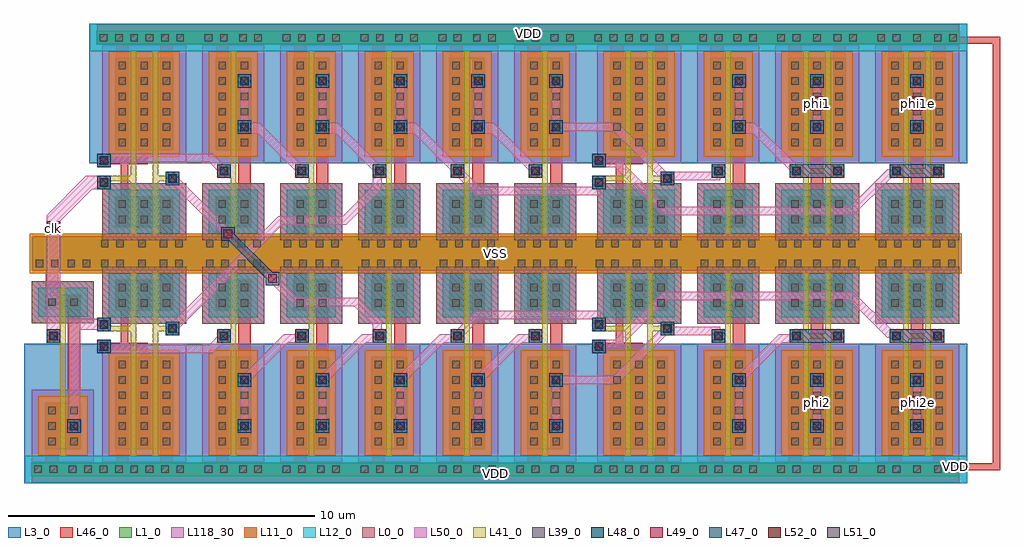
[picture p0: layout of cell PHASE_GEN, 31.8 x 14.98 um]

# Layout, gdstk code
import gdstk
lib = gdstk.Library(unit=1e-6, precision=1e-09)
def R(c, l, rs):  # rectangles x0, y0, x1, y1
    for r in rs: c.add(gdstk.rectangle(r[:2], r[2:], *l))
def A(c, l, x, y, w, h, nx, ny, dx, dy):  # array of equal rectangles
    R(c, l, [(x+i*dx, y+j*dy, x+i*dx+w, y+j*dy+h) for i in range(nx) for j in range(ny)])
def P(c, l, *ps):  # polygons
    for p in ps: c.add(gdstk.Polygon(p, *l))
L0_0 = (0, 0)
L1_0 = (1, 0)
L3_0 = (3, 0)
L11_0 = (11, 0)
L12_0 = (12, 0)
L39_0 = (39, 0)
L41_0 = (41, 0)
L46_0 = (46, 0)
L47_0 = (47, 0)
L48_0 = (48, 0)
L49_0 = (49, 0)
L50_0 = (50, 0)
L51_0 = (51, 0)
L52_0 = (52, 0)
L118_30 = (118, 30)

m2m3 = lib.new_cell('M2M3')
R(m2m3, L48_0, [(-0.22,-0.22,0.22,0.22)])
R(m2m3, L49_0, [(-0.14,-0.14,0.14,0.14)])
R(m2m3, L50_0, [(-0.22,-0.22,0.22,0.22)])

mpoly = lib.new_cell('MPOLY')
R(mpoly, L39_0, [(-0.12,-0.12,0.12,0.12)])
R(mpoly, L41_0, [(-0.22,-0.22,0.22,0.22)])
R(mpoly, L46_0, [(-0.2,-0.2,0.2,0.2)])

m1m2 = lib.new_cell('M1M2')
R(m1m2, L46_0, [(-0.22,-0.22,0.22,0.22)])
R(m1m2, L47_0, [(-0.14,-0.14,0.14,0.14)])
R(m1m2, L48_0, [(-0.22,-0.22,0.22,0.22)])

inv_x8 = lib.new_cell('inv_X8')
R(inv_x8, L0_0, [(-1.57,-0.84,1.17,1.02)])
R(inv_x8, L1_0, [(-1.55,-1.17,1.15,-0.73), (-1.14,-0.41,0.74,0.59), (-1.14,-0.41,-0.65,0.59), (0.25,-0.41,0.74,0.59), (-1.14,2.1,0.74,5.1), (-1.14,2.1,-0.65,5.1), (0.25,2.1,0.74,5.1), (-1.59,5.54,1.19,5.98)])
R(inv_x8, L3_0, [(-1.57,1.67,1.17,5.53), (-1.83,5.3,1.43,6.22)])
R(inv_x8, L11_0, [(-1.65,-1.27,1.25,-0.63), (-1.36,1.88,0.96,5.32)])
R(inv_x8, L12_0, [(-1.36,-0.63,0.96,0.81), (-1.81,5.32,1.41,6.2)])
A(inv_x8, L39_0, -0.95, -1.07, 0.24, 0.24, 3, 1, 0.63, 0)
A(inv_x8, L39_0, -1.04, -0.28, 0.24, 0.24, 3, 2, 0.72, 0.5)
A(inv_x8, L39_0, -1.04, 2.23, 0.24, 0.24, 3, 6, 0.72, 0.5)
A(inv_x8, L39_0, -0.99, 5.64, 0.24, 0.24, 3, 1, 0.67, 0)
R(inv_x8, L39_0, [(-1.45,-1.07,-1.21,-0.83), (0.81,-1.07,1.05,-0.83), (-1.49,5.64,-1.25,5.88), (0.85,5.64,1.09,5.88)])
R(inv_x8, L41_0, [(-0.65,-0.63,-0.47,-0.41), (0.07,-0.63,0.25,-0.41), (-0.65,-0.41,-0.47,0.59), (0.07,-0.41,0.25,0.59), (-0.65,0.59,-0.47,0.81), (0.07,0.59,0.25,0.81), (-0.65,0.63,-0.47,2.06), (0.07,0.63,0.25,2.06), (-0.96,1.33,-0.66,1.51), (-0.65,1.33,0.25,1.51), (0.38,1.33,0.68,1.51), (-0.65,1.88,-0.47,2.1), (0.07,1.88,0.25,2.1), (-0.65,2.1,-0.47,5.1), (0.07,2.1,0.25,5.1), (-0.65,5.1,-0.47,5.32), (0.07,5.1,0.25,5.32)])
A(inv_x8, L46_0, -1.12, -0.36, 0.4, 0.9, 3, 1, 0.72, 0)
A(inv_x8, L46_0, -1.12, 2.15, 0.4, 2.9, 3, 1, 0.72, 0)
R(inv_x8, L46_0, [(-1.57,-1.27,1.17,-0.71), (-1.57,-1.19,1.17,-0.71), (-1.12,-1.11,-0.72,0.04), (0.32,-1.11,0.72,0.04), (-0.4,0.14,0,2.55), (-1.12,4.65,-0.72,5.96), (0.32,4.65,0.72,5.96), (-1.57,5.56,1.17,5.96), (-1.57,5.56,1.17,6.22)])
R(inv_x8, L48_0, [(-0.91,1.2,0.25,1.64)])
R(inv_x8, L50_0, [(-1.09,1.2,0.69,1.64), (-0.34,2.71,-0.06,4.49)])
R(inv_x8, L118_30, [(-1.57,-0.84,1.17,1.02), (-1.57,1.67,1.17,5.53)])
inv_x8.add(gdstk.Reference(m2m3, (-0.87,1.42)))
inv_x8.add(gdstk.Reference(mpoly, (-0.87,1.42)))
inv_x8.add(gdstk.Reference(m2m3, (0.47,1.42)))
inv_x8.add(gdstk.Reference(m2m3, (-0.2,4.35)))
inv_x8.add(gdstk.Reference(m1m2, (-0.87,1.42)))
inv_x8.add(gdstk.Reference(m1m2, (-0.2,2.85)))
inv_x8.add(gdstk.Reference(m1m2, (-0.2,4.35)))
inv_x8.add(gdstk.Reference(m1m2, (0.47,1.42)))
inv_x8.add(gdstk.Reference(mpoly, (0.47,1.42)))
inv_x8.add(gdstk.Reference(m2m3, (-0.2,2.85)))
inv_x8.add(gdstk.Label('/M1', (-0.56,0.09), layer=85, texttype=0))
inv_x8.add(gdstk.Label('/M1', (0.16,0.09), layer=85, texttype=0))
inv_x8.add(gdstk.Label('& Vendor Mentor', (-1.14,-0.41), layer=63, texttype=63))
inv_x8.add(gdstk.Label('& Product UMC180FDKMFM', (-1.14,-0.41), layer=63, texttype=63))
inv_x8.add(gdstk.Label('& Version A01', (-1.14,-0.41), layer=63, texttype=63))
inv_x8.add(gdstk.Label('& Metric 0', (-1.14,-0.41), layer=63, texttype=63))
inv_x8.add(gdstk.Label('& _PublicCode', (-1.14,-0.41), layer=63, texttype=63))
inv_x8.add(gdstk.Label('/M2', (-0.56,3.6), layer=85, texttype=0))
inv_x8.add(gdstk.Label('/M2', (0.16,3.6), layer=85, texttype=0))
inv_x8.add(gdstk.Label('& Vendor Mentor', (-1.14,2.1), layer=63, texttype=63))
inv_x8.add(gdstk.Label('& Product UMC180FDKMFM', (-1.14,2.1), layer=63, texttype=63))
inv_x8.add(gdstk.Label('& Version A01', (-1.14,2.1), layer=63, texttype=63))
inv_x8.add(gdstk.Label('& Metric 0', (-1.14,2.1), layer=63, texttype=63))
inv_x8.add(gdstk.Label('& _PublicCode', (-1.14,2.1), layer=63, texttype=63))
inv_x8.add(gdstk.Label('VSS', (-0.2,-0.99), layer=101, texttype=0))
inv_x8.add(gdstk.Label('VDD', (-0.2,5.89), layer=101, texttype=0))
inv_x8.add(gdstk.Label('I', (-0.2,1.42), layer=103, texttype=0))
inv_x8.add(gdstk.Label('O', (-0.2,3.6), layer=103, texttype=0))

inv_x4 = lib.new_cell('inv_X4')
R(inv_x4, L0_0, [(-0.34,-2.21,1.68,-0.35)])
R(inv_x4, L1_0, [(-0.32,-2.54,1.66,-2.1), (0.09,-1.78,1.25,-0.78), (0.09,-1.78,0.58,-0.78), (0.76,-1.78,1.25,-0.78), (0.09,0.73,1.25,3.73), (0.09,0.73,0.58,3.73), (0.76,0.73,1.25,3.73), (-0.36,4.17,1.7,4.61)])
R(inv_x4, L3_0, [(-0.34,0.3,1.68,4.16), (-0.6,3.93,1.94,4.85)])
R(inv_x4, L11_0, [(-0.42,-2.64,1.76,-2), (-0.13,0.51,1.47,3.95)])
R(inv_x4, L12_0, [(-0.13,-2,1.47,-0.56), (-0.58,3.95,1.92,4.83)])
A(inv_x4, L39_0, 0.19, 0.86, 0.24, 0.24, 1, 6, 0, 0.5)
A(inv_x4, L39_0, 0.91, 0.86, 0.24, 0.24, 1, 6, 0, 0.5)
R(inv_x4, L39_0, [(-0.22,-2.44,0.02,-2.2), (0.28,-2.44,0.52,-2.2), (0.82,-2.44,1.06,-2.2), (1.32,-2.44,1.56,-2.2), (0.19,-1.65,0.43,-1.41), (0.91,-1.65,1.15,-1.41), (0.19,-1.15,0.43,-0.91), (0.91,-1.15,1.15,-0.91), (-0.26,4.27,-0.02,4.51), (0.24,4.27,0.48,4.51), (0.86,4.27,1.1,4.51), (1.36,4.27,1.6,4.51)])
R(inv_x4, L41_0, [(0.58,-2,0.76,-1.78), (0.58,-1.78,0.76,-0.78), (0.58,-0.78,0.76,-0.56), (0.58,-0.74,0.76,0.69), (0.27,-0.04,0.57,0.14), (0.58,0.51,0.76,0.73), (0.58,0.73,0.76,3.73), (0.58,3.73,0.76,3.95)])
R(inv_x4, L46_0, [(-0.34,-2.64,1.68,-2.08), (-0.34,-2.56,1.68,-2.08), (0.11,-2.48,0.51,-1.33), (0.11,-1.73,0.51,-0.83), (0.83,-1.73,1.23,-0.83), (0.83,-1.23,1.23,1.18), (0.11,0.78,0.51,3.68), (0.83,0.78,1.23,3.68), (0.11,3.28,0.51,4.59), (-0.34,4.19,1.68,4.59), (-0.34,4.19,1.68,4.85)])
R(inv_x4, L50_0, [(0.14,-0.17,0.58,0.27), (0.89,1.34,1.17,3.12)])
R(inv_x4, L118_30, [(-0.34,-2.21,1.68,-0.35), (-0.34,0.3,1.68,4.16)])
inv_x4.add(gdstk.Reference(m2m3, (1.03,2.98)))
inv_x4.add(gdstk.Reference(m1m2, (0.36,0.05)))
inv_x4.add(gdstk.Reference(m1m2, (1.03,1.48)))
inv_x4.add(gdstk.Reference(m2m3, (0.36,0.05)))
inv_x4.add(gdstk.Reference(mpoly, (0.36,0.05)))
inv_x4.add(gdstk.Reference(m2m3, (1.03,1.48)))
inv_x4.add(gdstk.Reference(m1m2, (1.03,2.98)))
inv_x4.add(gdstk.Label('& _PublicCode', (0.09,-1.78), layer=63, texttype=63))
inv_x4.add(gdstk.Label('/M1', (0.67,-1.28), layer=85, texttype=0))
inv_x4.add(gdstk.Label('& Vendor Mentor', (0.09,-1.78), layer=63, texttype=63))
inv_x4.add(gdstk.Label('& Product UMC180FDKMFM', (0.09,-1.78), layer=63, texttype=63))
inv_x4.add(gdstk.Label('& Version A01', (0.09,-1.78), layer=63, texttype=63))
inv_x4.add(gdstk.Label('& Metric 0', (0.09,-1.78), layer=63, texttype=63))
inv_x4.add(gdstk.Label('/M2', (0.67,2.23), layer=85, texttype=0))
inv_x4.add(gdstk.Label('& Vendor Mentor', (0.09,0.73), layer=63, texttype=63))
inv_x4.add(gdstk.Label('& Product UMC180FDKMFM', (0.09,0.73), layer=63, texttype=63))
inv_x4.add(gdstk.Label('& Version A01', (0.09,0.73), layer=63, texttype=63))
inv_x4.add(gdstk.Label('& Metric 0', (0.09,0.73), layer=63, texttype=63))
inv_x4.add(gdstk.Label('& _PublicCode', (0.09,0.73), layer=63, texttype=63))
inv_x4.add(gdstk.Label('VSS', (0.67,-2.36), layer=101, texttype=0))
inv_x4.add(gdstk.Label('VDD', (0.67,4.52), layer=101, texttype=0))
inv_x4.add(gdstk.Label('I', (0.36,0.05), layer=103, texttype=0))
inv_x4.add(gdstk.Label('O', (1.03,2.23), layer=103, texttype=0))

inv_x2 = lib.new_cell('inv_X2')
R(inv_x2, L0_0, [(-1.58,-2.76,0.44,-1.4)])
R(inv_x2, L1_0, [(-1.56,-3.57,0.42,-3.13), (-1.15,-2.33,0.01,-1.83), (-1.15,-2.33,-0.66,-1.83), (-0.48,-2.33,0.01,-1.83), (-1.15,1.2,0.01,2.7), (-1.15,1.2,-0.66,2.7), (-0.48,1.2,0.01,2.7), (-1.6,3.14,0.46,3.58)])
R(inv_x2, L3_0, [(-1.58,0.77,0.44,3.13), (-1.84,2.9,0.7,3.82)])
R(inv_x2, L11_0, [(-1.66,-3.67,0.52,-3.03), (-1.37,0.98,0.23,2.92)])
R(inv_x2, L12_0, [(-1.37,-2.55,0.23,-1.61), (-1.82,2.92,0.68,3.8)])
A(inv_x2, L39_0, -1.05, 1.33, 0.24, 0.24, 1, 3, 0, 0.5)
A(inv_x2, L39_0, -0.33, 1.33, 0.24, 0.24, 1, 3, 0, 0.5)
R(inv_x2, L39_0, [(-1.46,-3.47,-1.22,-3.23), (-0.96,-3.47,-0.72,-3.23), (-0.42,-3.47,-0.18,-3.23), (0.08,-3.47,0.32,-3.23), (-1.05,-2.2,-0.81,-1.96), (-0.33,-2.2,-0.09,-1.96), (-1.5,3.24,-1.26,3.48), (-1,3.24,-0.76,3.48), (-0.38,3.24,-0.14,3.48), (0.12,3.24,0.36,3.48)])
R(inv_x2, L41_0, [(-0.66,-2.55,-0.48,-2.33), (-0.66,-2.33,-0.48,-1.83), (-0.66,-1.83,-0.48,-1.61), (-0.66,-1.77,-0.48,1.16), (-0.97,-1.07,-0.67,-0.89), (-0.66,0.98,-0.48,1.2), (-0.66,1.2,-0.48,2.7), (-0.66,2.7,-0.48,2.92)])
R(inv_x2, L46_0, [(-1.58,-3.67,0.44,-3.11), (-1.58,-3.59,0.44,-3.11), (-1.13,-3.11,-0.73,-2.28), (-1.13,-2.28,-0.73,-1.88), (-0.41,-2.28,-0.01,-1.88), (-0.41,-2.26,-0.01,1.65), (-1.13,1.25,-0.73,2.65), (-0.41,1.25,-0.01,2.65), (-1.13,2.25,-0.73,3.16), (-1.58,3.16,0.44,3.56), (-1.58,3.16,0.44,3.82)])
R(inv_x2, L50_0, [(-1.1,-1.2,-0.66,-0.76), (-0.43,1.73,0.01,2.17)])
R(inv_x2, L118_30, [(-1.58,-2.76,0.44,-1.4), (-1.58,0.77,0.44,3.13)])
inv_x2.add(gdstk.Reference(m2m3, (-0.21,1.95)))
inv_x2.add(gdstk.Reference(m1m2, (-0.88,-0.98)))
inv_x2.add(gdstk.Reference(m1m2, (-0.21,1.95)))
inv_x2.add(gdstk.Reference(m2m3, (-0.88,-0.98)))
inv_x2.add(gdstk.Reference(mpoly, (-0.88,-0.98)))
inv_x2.add(gdstk.Label('& _PublicCode', (-1.15,-2.33), layer=63, texttype=63))
inv_x2.add(gdstk.Label('/M1', (-0.57,-2.08), layer=85, texttype=0))
inv_x2.add(gdstk.Label('& Vendor Mentor', (-1.15,-2.33), layer=63, texttype=63))
inv_x2.add(gdstk.Label('& Product UMC180FDKMFM', (-1.15,-2.33), layer=63, texttype=63))
inv_x2.add(gdstk.Label('& Version A01', (-1.15,-2.33), layer=63, texttype=63))
inv_x2.add(gdstk.Label('& Metric 0', (-1.15,-2.33), layer=63, texttype=63))
inv_x2.add(gdstk.Label('& _PublicCode', (-1.15,1.2), layer=63, texttype=63))
inv_x2.add(gdstk.Label('/M2', (-0.57,1.95), layer=85, texttype=0))
inv_x2.add(gdstk.Label('& Vendor Mentor', (-1.15,1.2), layer=63, texttype=63))
inv_x2.add(gdstk.Label('& Product UMC180FDKMFM', (-1.15,1.2), layer=63, texttype=63))
inv_x2.add(gdstk.Label('& Version A01', (-1.15,1.2), layer=63, texttype=63))
inv_x2.add(gdstk.Label('& Metric 0', (-1.15,1.2), layer=63, texttype=63))
inv_x2.add(gdstk.Label('VSS', (-1.58,-3.67), layer=101, texttype=0))
inv_x2.add(gdstk.Label('VDD', (-0.57,3.49), layer=101, texttype=0))
inv_x2.add(gdstk.Label('I', (-0.88,-0.98), layer=103, texttype=0))
inv_x2.add(gdstk.Label('O', (-0.21,1.95), layer=103, texttype=0))

nand_x4 = lib.new_cell('nand_X4')
R(nand_x4, L0_0, [(3.04,-4.66,5.78,-2.8)])
R(nand_x4, L1_0, [(2.9,-4.99,5.76,-4.55), (3.47,-4.23,5.35,-3.23), (3.47,-4.23,3.96,-3.23), (4.86,-4.23,5.35,-3.23), (3.47,-1.72,5.35,1.28), (3.47,-1.72,3.96,1.28), (4.86,-1.72,5.35,1.28), (2.86,1.72,5.8,2.16)])
R(nand_x4, L3_0, [(3.04,-2.15,5.78,1.71), (2.62,1.48,6.04,2.4)])
R(nand_x4, L11_0, [(2.8,-5.09,5.86,-4.45), (3.25,-1.94,5.57,1.5)])
R(nand_x4, L12_0, [(3.25,-4.45,5.57,-3.01), (2.64,1.5,6.02,2.38)])
A(nand_x4, L39_0, 3.5, -4.89, 0.24, 0.24, 3, 1, 0.71, 0)
A(nand_x4, L39_0, 3.57, -4.1, 0.24, 0.24, 3, 2, 0.72, 0.5)
A(nand_x4, L39_0, 3.57, -1.59, 0.24, 0.24, 3, 6, 0.72, 0.5)
A(nand_x4, L39_0, 2.96, 1.82, 0.24, 0.24, 6, 1, 0.5, 0)
R(nand_x4, L39_0, [(3,-4.89,3.24,-4.65), (5.42,-4.89,5.66,-4.65)])
R(nand_x4, L41_0, [(3.96,-4.45,4.14,-4.23), (4.68,-4.45,4.86,-4.23), (3.96,-4.23,4.14,-3.23), (4.68,-4.23,4.86,-3.23), (3.96,-3.23,4.14,-3.01), (4.68,-3.23,4.86,-3.01), (3.96,-3.19,4.14,-2.56), (4.68,-3.19,4.86,-2.56), (3.01,-2.87,3.19,-2.56), (3.03,-2.74,4.14,-2.56), (3.96,-2.74,4.14,-1.76), (4.68,-2.74,5.42,-2.56), (4.68,-2.74,4.86,-1.76), (3.96,-1.94,4.14,-1.72), (4.68,-1.94,4.86,-1.72), (3.96,-1.72,4.14,1.28), (4.68,-1.72,4.86,1.28), (3.96,1.28,4.14,1.5), (4.68,1.28,4.86,1.5)])
A(nand_x4, L46_0, 3.49, -4.18, 0.4, 0.9, 3, 1, 0.72, 0)
A(nand_x4, L46_0, 3.49, -1.67, 0.4, 2.9, 3, 1, 0.72, 0)
R(nand_x4, L46_0, [(2.88,-5.09,5.78,-4.53), (2.88,-5.01,5.78,-4.53), (4.93,-4.93,5.33,-3.78), (3.65,-3.52,3.89,-1.94), (2.98,-2.18,3.89,-1.94), (3.49,0.83,3.89,2.14), (4.93,0.83,5.33,2.14), (2.88,1.74,5.78,2.14), (2.88,1.74,5.78,2.4)])
P(nand_x4, L46_0, [(3.65,-2.18),(4.53,-2.18),(4.53,-1.43),(4.29,-1.43),(4.29,-1.94),(3.65,-1.94)])
R(nand_x4, L50_0, [(2.88,-3,3.32,-2.56), (5.11,-2.87,5.55,-2.43), (2.88,-2.28,3.32,-1.84)])
R(nand_x4, L118_30, [(3.04,-4.66,5.78,-2.8), (3.04,-2.15,5.78,1.71)])
nand_x4.add(gdstk.Reference(m1m2, (3.1,-2.78)))
nand_x4.add(gdstk.Reference(m1m2, (3.1,-2.06)))
nand_x4.add(gdstk.Reference(m2m3, (5.33,-2.65)))
nand_x4.add(gdstk.Reference(m2m3, (3.1,-2.06)))
nand_x4.add(gdstk.Reference(mpoly, (3.1,-2.78)))
nand_x4.add(gdstk.Reference(mpoly, (5.33,-2.65)))
nand_x4.add(gdstk.Reference(m1m2, (5.33,-2.65)))
nand_x4.add(gdstk.Reference(m2m3, (3.1,-2.78)))
nand_x4.add(gdstk.Label('/M3', (4.77,-3.73), layer=85, texttype=0))
nand_x4.add(gdstk.Label('/M2', (4.05,-3.73), layer=85, texttype=0))
nand_x4.add(gdstk.Label('& Vendor Mentor', (5.35,-4.23), layer=63, texttype=63))
nand_x4.add(gdstk.Label('& Product UMC180FDKMFM', (5.35,-4.23), layer=63, texttype=63))
nand_x4.add(gdstk.Label('& Version A01', (5.35,-4.23), layer=63, texttype=63))
nand_x4.add(gdstk.Label('& Metric 0', (5.35,-4.23), layer=63, texttype=63))
nand_x4.add(gdstk.Label('& _PublicCode', (5.35,-4.23), layer=63, texttype=63))
nand_x4.add(gdstk.Label('/M4', (4.05,-0.22), layer=85, texttype=0))
nand_x4.add(gdstk.Label('/M1', (4.77,-0.22), layer=85, texttype=0))
nand_x4.add(gdstk.Label('& Vendor Mentor', (3.47,-1.72), layer=63, texttype=63))
nand_x4.add(gdstk.Label('& Product UMC180FDKMFM', (3.47,-1.72), layer=63, texttype=63))
nand_x4.add(gdstk.Label('& Version A01', (3.47,-1.72), layer=63, texttype=63))
nand_x4.add(gdstk.Label('& Metric 0', (3.47,-1.72), layer=63, texttype=63))
nand_x4.add(gdstk.Label('& _PublicCode', (3.47,-1.72), layer=63, texttype=63))
nand_x4.add(gdstk.Label('VSS', (4.33,-4.81), layer=101, texttype=0))
nand_x4.add(gdstk.Label('VDD', (4.33,2.07), layer=101, texttype=0))
nand_x4.add(gdstk.Label('A', (3.1,-2.78), layer=103, texttype=0))
nand_x4.add(gdstk.Label('O', (3.1,-2.06), layer=103, texttype=0))
nand_x4.add(gdstk.Label('B', (5.33,-2.65), layer=103, texttype=0))

m3m4 = lib.new_cell('M3M4')
R(m3m4, L50_0, [(-0.22,-0.22,0.22,0.22)])
R(m3m4, L51_0, [(-0.14,-0.14,0.14,0.14)])
R(m3m4, L52_0, [(-0.22,-0.22,0.22,0.22)])

phase_gen = lib.new_cell('PHASE_GEN')
R(phase_gen, L1_0, [(8.34,-5.65,29.53,-5.21), (29.53,-5.65,38.59,-5.21), (8.38,1.06,29.49,2.14), (29.49,1.06,38.55,2.14), (10.47,8.41,29.53,8.85), (29.53,8.41,38.59,8.85)])
R(phase_gen, L3_0, [(8.1,-5.89,38.83,-1.34), (10.23,4.54,38.83,9.09)])
R(phase_gen, L11_0, [(8.28,0.96,38.65,2.24)])
R(phase_gen, L12_0, [(8.12,-5.87,38.81,-4.99), (10.25,8.19,38.81,9.07)])
R(phase_gen, L46_0, [(8.36,-5.89,38.57,-5.23), (8.36,1.04,38.57,2.16), (10.49,8.43,38.57,9.09)])
P(phase_gen, L46_0, [(38.33,-5.47),(39.9,-5.47),(39.9,8.67),(38.33,8.67),(38.33,8.43),(39.66,8.43),(39.66,-5.23),(38.33,-5.23)])
P(phase_gen, L48_0, [(14.52,2.26),(16.21,0.57),(16.41,0.77),(14.72,2.46)])
P(phase_gen, L50_0, [(22.11,-0.99),(22.31,-1.19),(22.95,-0.55),(26.61,-0.55),(26.61,-0.75),(26.89,-0.75),(26.89,-0.27),(22.83,-0.27)],
  [(25.3,-2.66),(27.44,-2.66),(29.18,-0.92),(28.98,-0.72),(27.32,-2.38),(25.3,-2.38)],
  [(29,-1.06),(30.51,-1.06),(30.51,-1.15),(30.79,-1.15),(30.79,-0.78),(29,-0.78)],
  [(31.26,-2.46),(31.46,-2.66),(32.81,-1.31),(33.33,-1.31),(33.33,-1.03),(32.69,-1.03)],
  [(26.77,-1.49),(27.47,-1.49),(29.04,0.08),(35,0.08),(36.23,-1.15),(36.59,-1.15),(36.59,-0.87),(36.35,-0.87),(35.12,0.36),(28.92,0.36),(27.35,-1.21),(26.77,-1.21)],
  [(10.65,4.57),(14.13,4.57),(14.53,4.17),(14.73,4.37),(14.25,4.85),(10.65,4.85)],
  [(10.65,-1.65),(14.25,-1.65),(14.73,-1.17),(14.53,-0.97),(14.13,-1.37),(10.65,-1.37)],
  [(12.82,-0.76),(13.02,-0.96),(16.51,2.53),(18.6,2.53),(19.75,3.68),(19.75,4.35),(19.47,4.35),(19.47,3.8),(18.48,2.81),(16.39,2.81)],
  [(17.68,-2.46),(17.88,-2.66),(19.23,-1.31),(19.75,-1.31),(19.75,-1.03),(19.11,-1.03)],
  [(15.97,0.81),(16.9,-0.12),(18.86,-0.12),(19.47,-0.73),(19.47,-1.15),(19.75,-1.15),(19.75,-0.61),(18.98,0.16),(17.02,0.16),(16.17,1.01)],
  [(8.84,-1.31),(9.28,-1.31),(9.28,2.65),(10.32,3.69),(10.93,3.69),(10.93,4.13),(10.12,4.13),(8.84,2.85)],
  [(9.56,-4.16),(9.92,-4.16),(9.92,-0.89),(10.85,-0.89),(10.85,-0.53),(9.56,-0.53)],
  [(15.14,5.58),(15.5,5.58),(15.5,5.5),(15.74,5.5),(17.07,4.17),(17.27,4.37),(15.78,5.86),(15.14,5.86)],
  [(17.68,5.58),(18.04,5.58),(18.04,5.5),(18.28,5.5),(19.61,4.17),(19.81,4.37),(18.32,5.86),(17.68,5.86)],
  [(20.22,5.58),(20.58,5.58),(20.58,5.5),(20.82,5.5),(22.15,4.17),(22.35,4.37),(20.86,5.86),(20.22,5.86)],
  [(22.76,5.58),(23.12,5.58),(23.12,5.5),(23.36,5.5),(24.69,4.17),(24.89,4.37),(23.4,5.86),(22.76,5.86)],
  [(25.3,5.58),(27.32,5.58),(28.98,3.92),(29.18,4.12),(27.44,5.86),(25.3,5.86)],
  [(29,3.98),(30.79,3.98),(30.79,4.35),(30.51,4.35),(30.51,4.26),(29,4.26)],
  [(31.26,5.58),(31.62,5.58),(31.62,5.5),(31.86,5.5),(33.19,4.17),(33.39,4.37),(31.9,5.86),(31.26,5.86)],
  [(22.11,4.21),(22.83,3.49),(26.89,3.49),(26.89,3.97),(26.61,3.97),(26.61,3.77),(22.95,3.77),(22.31,4.41)],
  [(26.77,4.41),(27.35,4.41),(28.92,2.84),(35.12,2.84),(36.35,4.07),(36.59,4.07),(36.59,4.35),(36.23,4.35),(35,3.12),(29.04,3.12),(27.47,4.69),(26.77,4.69)],
  [(15.14,-2.46),(15.34,-2.66),(16.69,-1.31),(17.21,-1.31),(17.21,-1.03),(16.57,-1.03)],
  [(12.82,3.96),(14.76,2.02),(14.96,2.22),(13.02,4.16)],
  [(20.22,-2.46),(20.42,-2.66),(21.77,-1.31),(22.29,-1.31),(22.29,-1.03),(21.65,-1.03)],
  [(22.76,-2.46),(22.96,-2.66),(24.31,-1.31),(24.83,-1.31),(24.83,-1.03),(24.19,-1.03)])
R(phase_gen, L52_0, [(33.72,-3.49,34.16,-3.05), (36.98,-3.49,37.42,-3.05), (8.84,2.21,9.28,2.65), (33.72,6.27,34.16,6.71), (36.98,6.27,37.42,6.71)])
phase_gen.add(gdstk.Reference(inv_x8, (37.4,0.33), x_reflection=True))
phase_gen.add(gdstk.Reference(inv_x8, (34.14,0.33), x_reflection=True))
phase_gen.add(gdstk.Reference(inv_x8, (37.4,2.87)))
phase_gen.add(gdstk.Reference(inv_x8, (34.14,2.87)))
phase_gen.add(gdstk.Reference(inv_x4, (30.37,-1.04), x_reflection=True))
phase_gen.add(gdstk.Reference(inv_x4, (30.37,4.24)))
phase_gen.add(gdstk.Reference(inv_x4, (24.41,-1.04), x_reflection=True))
phase_gen.add(gdstk.Reference(inv_x4, (21.87,-1.04), x_reflection=True))
phase_gen.add(gdstk.Reference(inv_x4, (19.33,-1.04), x_reflection=True))
phase_gen.add(gdstk.Reference(inv_x4, (16.79,-1.04), x_reflection=True))
phase_gen.add(gdstk.Reference(inv_x4, (14.25,-1.04), x_reflection=True))
phase_gen.add(gdstk.Reference(inv_x4, (24.41,4.24)))
phase_gen.add(gdstk.Reference(inv_x4, (21.87,4.24)))
phase_gen.add(gdstk.Reference(inv_x4, (19.33,4.24)))
phase_gen.add(gdstk.Reference(inv_x4, (16.79,4.24)))
phase_gen.add(gdstk.Reference(inv_x4, (14.25,4.24)))
phase_gen.add(gdstk.Reference(inv_x2, (9.94,-2.07), x_reflection=True))
phase_gen.add(gdstk.Reference(nand_x4, (23.73,-3.49), x_reflection=True))
phase_gen.add(gdstk.Reference(nand_x4, (23.73,6.69)))
phase_gen.add(gdstk.Reference(nand_x4, (7.61,6.69)))
phase_gen.add(gdstk.Reference(nand_x4, (7.61,-3.49), x_reflection=True))
phase_gen.add(gdstk.Reference(m2m3, (16.19,0.79)))
phase_gen.add(gdstk.Reference(m2m3, (14.74,2.24)))
phase_gen.add(gdstk.Reference(m3m4, (9.06,2.43)))
phase_gen.add(gdstk.Reference(m3m4, (37.2,6.49)))
phase_gen.add(gdstk.Reference(m3m4, (33.94,6.49)))
phase_gen.add(gdstk.Reference(m3m4, (33.94,-3.27)))
phase_gen.add(gdstk.Reference(m3m4, (37.2,-3.27)))
phase_gen.add(gdstk.Label('phi2e', (37.2,-3.27), layer=104, texttype=0))
phase_gen.add(gdstk.Label('phi2', (33.94,-3.27), layer=104, texttype=0))
phase_gen.add(gdstk.Label('phi1', (33.94,6.49), layer=104, texttype=0))
phase_gen.add(gdstk.Label('clk', (9.06,2.43), layer=104, texttype=0))
phase_gen.add(gdstk.Label('phi1e', (37.2,6.49), layer=104, texttype=0))
phase_gen.add(gdstk.Label('VSS', (23.465,1.6), layer=101, texttype=0))
phase_gen.add(gdstk.Label('VDD', (24.53,8.76), layer=101, texttype=0))
phase_gen.add(gdstk.Label('VDD', (23.465,-5.56), layer=101, texttype=0))
phase_gen.add(gdstk.Label('VDD', (38.45,-5.35), layer=101, texttype=0))

lib.write_gds('PHASE_GEN.gds')
